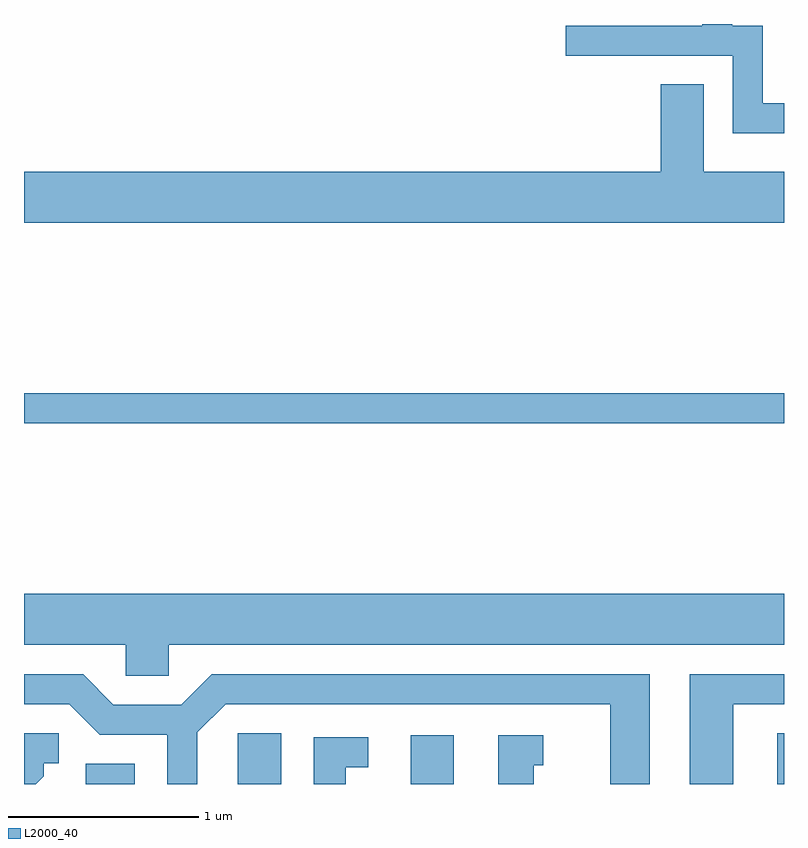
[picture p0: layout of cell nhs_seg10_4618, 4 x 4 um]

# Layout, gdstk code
import gdstk
lib = gdstk.Library(unit=1e-6, precision=1e-09)
def R(c, l, rs):  # rectangles x0, y0, x1, y1
    for r in rs: c.add(gdstk.rectangle(r[:2], r[2:], *l))
def P(c, l, *ps):  # polygons
    for p in ps: c.add(gdstk.Polygon(p, *l))
L2000_40 = (2000, 40)

nhs_seg10_4618 = lib.new_cell('nhs_seg10_4618')
R(nhs_seg10_4618, L2000_40, [(321.936,2106.522,322.194,2106.629), (322.736,2106.522,322.964,2106.789), (323.646,2106.522,323.874,2106.779), (325.576,2106.522,325.611,2106.789), (321.611,2108.421,325.611,2108.579)])
P(nhs_seg10_4618, L2000_40, [(325.611,2110.104),(325.499,2110.104),(325.499,2110.514),(325.339,2110.514),(325.339,2110.522),(325.181,2110.522),(325.181,2110.514),(324.463,2110.514),(324.463,2110.356),(325.341,2110.356),(325.341,2109.946),(325.611,2109.946)],
  [(325.611,2109.744),(325.189,2109.744),(325.189,2110.204),(324.961,2110.204),(324.961,2109.744),(321.611,2109.744),(321.611,2109.476),(325.611,2109.476)],
  [(322.374,2107.256),(325.611,2107.256),(325.611,2107.524),(321.611,2107.524),(321.611,2107.256),(322.146,2107.256),(322.146,2107.091),(322.374,2107.091)],
  [(322.524,2106.794),(322.672,2106.941),(324.696,2106.941),(324.696,2106.522),(324.904,2106.522),(324.904,2107.099),(322.599,2107.099),(322.439,2106.939),(322.082,2106.939),(321.922,2107.099),(321.611,2107.099),(321.611,2106.941),(321.849,2106.941),(322.009,2106.781),(322.366,2106.781),(322.366,2106.522),(322.524,2106.522)],
  [(325.344,2106.941),(325.611,2106.941),(325.611,2107.099),(325.116,2107.099),(325.116,2106.522),(325.344,2106.522)],
  [(321.714,2106.564),(321.714,2106.631),(321.793,2106.631),(321.793,2106.789),(321.611,2106.789),(321.611,2106.522),(321.672,2106.522)],
  [(324.294,2106.621),(324.343,2106.621),(324.343,2106.779),(324.106,2106.779),(324.106,2106.522),(324.294,2106.522)],
  [(323.304,2106.611),(323.423,2106.611),(323.423,2106.769),(323.136,2106.769),(323.136,2106.522),(323.304,2106.522)])

lib.write_gds('nhs_seg10_4618.gds')
